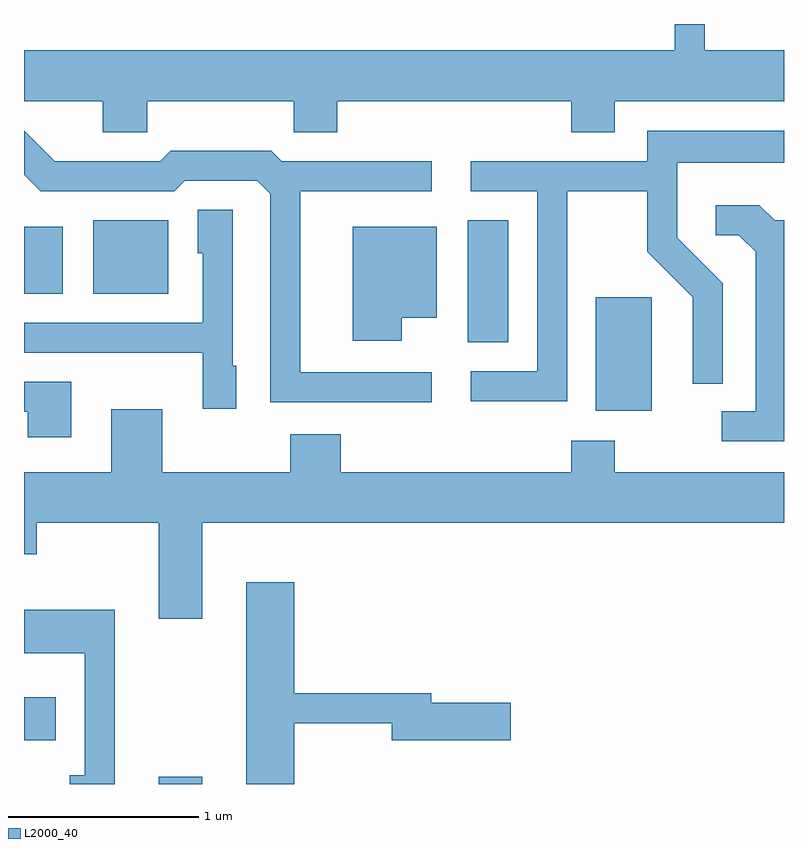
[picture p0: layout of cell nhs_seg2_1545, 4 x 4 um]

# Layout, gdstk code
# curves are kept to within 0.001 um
import gdstk
lib = gdstk.Library(unit=1e-6, precision=1e-09)
def R(c, l, rs):  # rectangles x0, y0, x1, y1
    for r in rs: c.add(gdstk.rectangle(r[:2], r[2:], *l))
def P(c, l, *ps):  # polygons
    for p in ps: c.add(gdstk.Polygon(p, *l))
L2000_40 = (2000, 40)

nhs_seg2_1545 = lib.new_cell('nhs_seg2_1545')
R(nhs_seg2_1545, L2000_40, [(230.321,1075.802,230.549,1075.839), (229.611,1076.031,229.779,1076.259), (232.621,1077.766,232.914,1078.364), (231.946,1078.126,232.159,1078.769), (229.611,1078.381,229.814,1078.734), (229.976,1078.381,230.369,1078.769)])
P(nhs_seg2_1545, L2000_40, [(230.259,1079.396),(231.031,1079.396),(231.031,1079.231),(231.259,1079.231),(231.259,1079.396),(232.491,1079.396),(232.491,1079.231),(232.719,1079.231),(232.719,1079.396),(233.611,1079.396),(233.611,1079.664),(233.194,1079.664),(233.194,1079.802),(233.036,1079.802),(233.036,1079.664),(229.611,1079.664),(229.611,1079.396),(230.026,1079.396),(230.026,1079.231),(230.259,1079.231)],
  [(232.469,1078.921),(232.891,1078.921),(232.891,1078.604),(233.131,1078.364),(233.131,1077.908),(233.289,1077.908),(233.289,1078.437),(233.049,1078.677),(233.049,1079.071),(233.611,1079.071),(233.611,1079.239),(232.891,1079.239),(232.891,1079.079),(231.963,1079.079),(231.963,1078.921),(232.311,1078.921),(232.311,1077.974),(231.963,1077.974),(231.963,1077.816),(232.469,1077.816)],
  [(231.758,1077.969),(231.064,1077.969),(231.064,1078.921),(231.758,1078.921),(231.758,1079.079),(230.967,1079.079),(230.912,1079.134),(230.384,1079.134),(230.329,1079.079),(229.772,1079.079),(229.611,1079.239),(229.611,1079.009),(229.699,1078.921),(230.402,1078.921),(230.457,1078.976),(230.839,1078.976),(230.906,1078.909),(230.906,1077.811),(231.758,1077.811)],
  [(233.611,1078.769),(233.562,1078.769),(233.482,1078.849),(233.253,1078.849),(233.253,1078.691),(233.374,1078.691),(233.461,1078.604),(233.461,1077.764),(233.283,1077.764),(233.283,1077.606),(233.611,1077.606)],
  [(230.729,1078.004),(230.709,1078.004),(230.709,1078.824),(230.526,1078.824),(230.526,1078.596),(230.551,1078.596),(230.551,1078.229),(229.611,1078.229),(229.611,1078.071),(230.551,1078.071),(230.551,1077.776),(230.729,1077.776)],
  [(231.599,1078.256),(231.784,1078.256),(231.784,1078.734),(231.341,1078.734),(231.341,1078.136),(231.599,1078.136)],
  [(229.859,1077.919),(229.611,1077.919),(229.611,1077.761),(229.631,1077.761),(229.631,1077.626),(229.859,1077.626)],
  [(230.549,1077.176),(233.611,1077.176),(233.611,1077.444),(232.719,1077.444),(232.719,1077.609),(232.491,1077.609),(232.491,1077.444),(231.279,1077.444),(231.279,1077.644),(231.011,1077.644),(231.011,1077.444),(230.339,1077.444),(230.339,1077.774),(230.071,1077.774),(230.071,1077.444),(229.611,1077.444),(229.611,1077.011),(229.679,1077.011),(229.679,1077.176),(230.321,1077.176),(230.321,1076.671),(230.549,1076.671)],
  [(231.034,1076.121),(231.546,1076.121),(231.546,1076.031),(232.174,1076.031),(232.174,1076.229),(231.754,1076.229),(231.754,1076.279),(231.034,1076.279),(231.034,1076.864),(230.781,1076.864),(230.781,1075.802),(231.034,1075.802)],
  [(230.089,1076.719),(229.611,1076.719),(229.611,1076.491),(229.931,1076.491),(229.931,1075.849),(229.853,1075.849),(229.853,1075.802),(230.089,1075.802)])

lib.write_gds('nhs_seg2_1545.gds')
